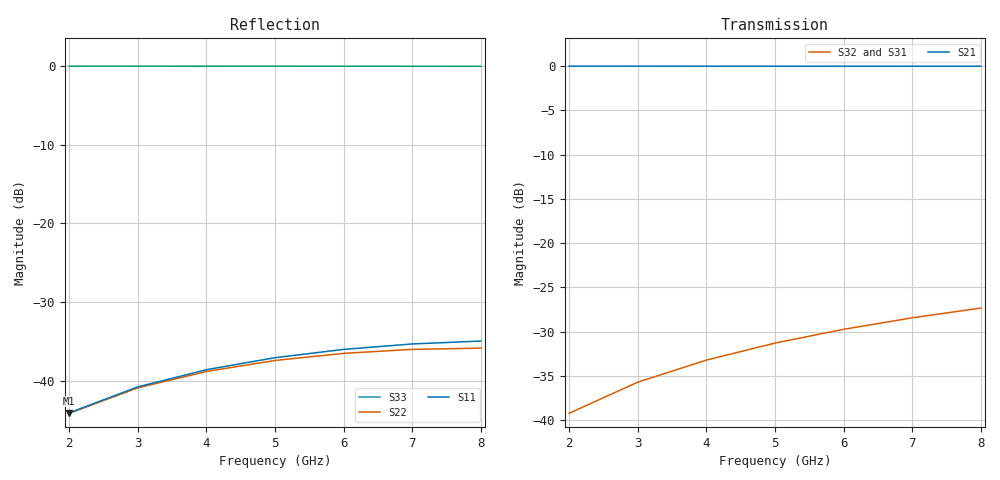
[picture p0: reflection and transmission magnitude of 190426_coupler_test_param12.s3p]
! Sonnet Data File
! From: emgraph Version : 16.56
! From Project: 190426_coupler_test
! Data is De-embedded
! Data File Written: 05/06/2019 15:59:44
!< HDATE 04/25/2019 10:48:44
!< MDATE 04/25/2019 10:59:35
!< PARAMS
!< tandelta = 0.0
!< t_aSi = 0.25
!< W = 10.0
!< Lcoupler = 1100.0
!< END PARAMS
# GHZ S MA R 50.0 !  non standard terminations in data
! TERM 50.00000 0.000000 50.00000 0.000000 63.84000 0.000000
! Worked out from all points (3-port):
!   7 points, 2 GHz to 8 GHz, reference 50 ohm
!   strongest paths, dB at 2 GHz, 3 GHz, 5 GHz, 7 GHz, 8 GHz:
!     S21: 0.0, 0.0, 0.0, 0.0, 0.0
!     S32: -39.2, -35.7, -31.3, -28.4, -27.3
!     S31: -39.2, -35.7, -31.4, -28.6, -27.5
!   lowest |S11| = -44.1 dB at 2 GHz (marker M1), VSWR 1.01, Z = 50.3 + j0.573 ohm
!   |S11| at or under -10 dB: start of sweep to end of sweep
2  0.006238 66.1  0.9999 -21.7  0.0109 59.4
   0.9999 -21.7  0.006197 71.6  0.01093 82.4
   0.0109 59.4  0.01093 82.4  0.9999 -16.9
3  0.009126 54.0  0.9998 -32.5  0.01631 44.1
   0.9998 -32.5  0.008992 62.5  0.01639 78.5
   0.01631 44.1  0.01639 78.5  0.9997 -25.3
4  0.01174 41.7  0.9997 -43.3  0.02167 28.9
   0.9997 -43.3  0.01144 53.4  0.02184 74.6
   0.02167 28.9  0.02184 74.6  0.9995 -33.7
5  0.01399 29.1  0.9995 -54.2  0.02696 13.6
   0.9995 -54.2  0.01343 44.5  0.02725 70.6
   0.02696 13.6  0.02725 70.6  0.9993 -42.2
6  0.0158 16.2  0.9994 -65.0  0.03217 -1.7
   0.9994 -65.0  0.01491 35.8  0.0326 66.6
   0.03217 -1.7  0.0326 66.6  0.999 -50.6
7  0.01711 2.9  0.9992 -75.8  0.03728 -17.0
   0.9992 -75.8  0.01581 27.3  0.03785 62.5
   0.03728 -17.0  0.03785 62.5  0.9986 -59.1
8  0.01786 -11.0  0.9989 -86.7  0.04227 -32.3
   0.9989 -86.7  0.0161 19.2  0.04297 58.3
   0.04227 -32.3  0.04297 58.3  0.9982 -67.6
